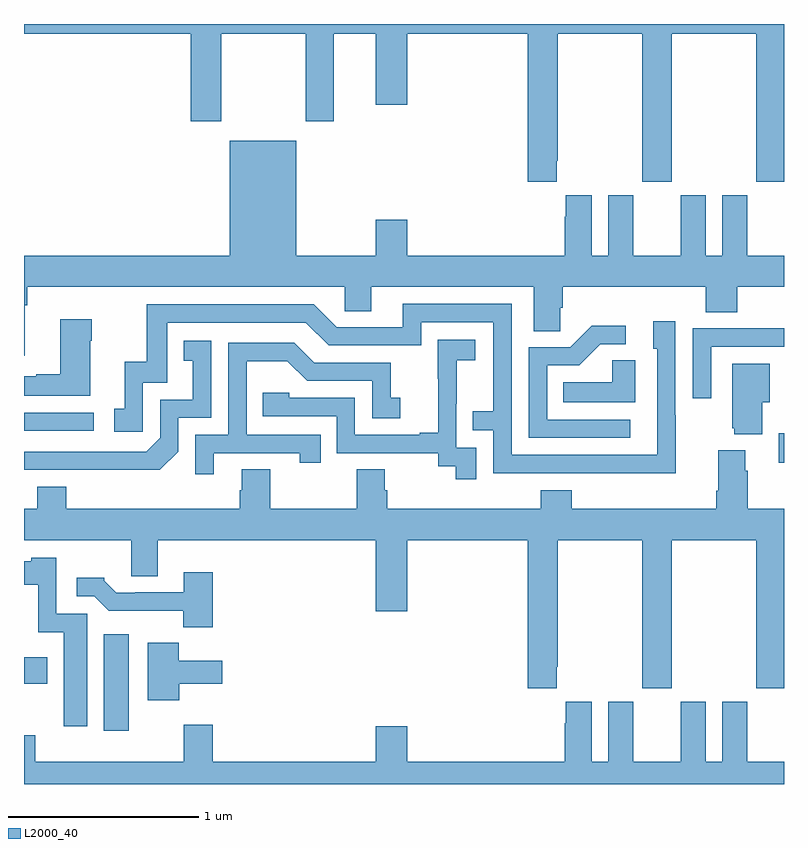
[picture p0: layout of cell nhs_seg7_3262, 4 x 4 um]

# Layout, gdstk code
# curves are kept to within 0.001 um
import gdstk
lib = gdstk.Library(unit=1e-6, precision=1e-09)
def R(c, l, rs):  # rectangles x0, y0, x1, y1
    for r in rs: c.add(gdstk.rectangle(r[:2], r[2:], *l))
def P(c, l, *ps):  # polygons
    for p in ps: c.add(gdstk.Polygon(p, *l))
L2000_40 = (2000, 40)

nhs_seg7_3262 = lib.new_cell('nhs_seg7_3262')
R(nhs_seg7_3262, L2000_40, [(319.421,998.28,319.552,998.788), (319,998.528,319.123,998.668), (322.973,999.69,323,999.846), (319,999.858,319.366,999.954)])
P(nhs_seg7_3262, L2000_40, [(319,1001.948),(319.877,1001.948),(319.877,1001.487),(320.037,1001.487),(320.037,1001.948),(320.482,1001.948),(320.482,1001.487),(320.629,1001.487),(320.629,1001.948),(320.852,1001.948),(320.852,1001.574),(321.016,1001.574),(321.016,1001.948),(321.65,1001.948),(321.65,1001.169),(321.805,1001.169),(321.805,1001.281),(321.81,1001.281),(321.81,1001.948),(322.255,1001.948),(322.255,1001.169),(322.41,1001.169),(322.41,1001.948),(322.855,1001.948),(322.855,1001.169),(323,1001.169),(323,1002),(319,1002)],
  [(319.003,1000.52),(319.016,1000.52),(319.016,1000.616),(320.688,1000.616),(320.688,1000.489),(320.827,1000.489),(320.827,1000.616),(321.683,1000.616),(321.683,1000.384),(321.822,1000.384),(321.822,1000.507),(321.836,1000.507),(321.836,1000.616),(322.589,1000.616),(322.589,1000.483),(322.754,1000.483),(322.754,1000.616),(323,1000.616),(323,1000.78),(322.807,1000.78),(322.807,1001.098),(322.676,1001.098),(322.676,1000.78),(322.588,1000.78),(322.588,1001.098),(322.457,1001.098),(322.457,1000.78),(322.207,1000.78),(322.207,1001.098),(322.076,1001.098),(322.076,1000.78),(321.988,1000.78),(321.988,1001.098),(321.851,1001.098),(321.851,1000.985),(321.845,1000.985),(321.845,1000.78),(321.016,1000.78),(321.016,1000.969),(320.852,1000.969),(320.852,1000.78),(320.434,1000.78),(320.434,1001.386),(320.084,1001.386),(320.084,1000.78),(319,1000.78),(319,1000.254),(319.003,1000.254)],
  [(322.431,999.941),(322.428,999.941),(322.428,1000.435),(322.313,1000.435),(322.313,1000.29),(322.332,1000.29),(322.332,999.732),(321.567,999.732),(321.567,1000.527),(320.993,1000.527),(320.993,1000.404),(320.646,1000.404),(320.526,1000.524),(319.647,1000.524),(319.647,1000.222),(319.529,1000.222),(319.529,999.975),(319.476,999.975),(319.476,999.855),(319.626,999.855),(319.626,1000.113),(319.755,1000.113),(319.755,1000.428),(320.484,1000.428),(320.604,1000.308),(321.09,1000.308),(321.09,1000.431),(321.471,1000.431),(321.471,999.962),(321.361,999.962),(321.361,999.861),(321.471,999.861),(321.471,999.636),(322.431,999.635)],
  [(319.348,1000.334),(319.356,1000.334),(319.356,1000.447),(319.19,1000.447),(319.19,1000.157),(319.064,1000.157),(319.064,1000.147),(319,1000.147),(319,1000.043),(319.348,1000.043)],
  [(322.192,999.918),(321.753,999.918),(321.753,1000.203),(321.922,1000.203),(322.033,1000.314),(322.168,1000.314),(322.168,1000.412),(321.989,1000.412),(321.876,1000.299),(321.657,1000.299),(321.657,999.822),(322.192,999.822)],
  [(322.617,1000.302),(323,1000.302),(323,1000.4),(322.837,1000.4),(322.837,1000.398),(322.521,1000.398),(322.521,1000.029),(322.617,1000.029)],
  [(321.381,999.771),(321.276,999.771),(321.276,1000.001),(321.278,1000.001),(321.278,1000.229),(321.376,1000.229),(321.376,1000.339),(321.178,1000.339),(321.178,1000.133),(321.179,1000.133),(321.179,999.85),(321.083,999.85),(321.083,999.837),(320.742,999.837),(320.742,1000.032),(320.397,1000.032),(320.397,1000.059),(320.257,1000.059),(320.257,999.936),(320.646,999.936),(320.646,999.741),(321.18,999.741),(321.18,999.673),(321.273,999.673),(321.273,999.603),(321.381,999.603)],
  [(319.812,999.75),(319.812,999.927),(319.986,999.927),(319.986,1000.333),(319.84,1000.333),(319.84,1000.227),(319.889,1000.227),(319.889,1000.023),(319.716,1000.023),(319.716,999.822),(319.644,999.75),(319,999.75),(319,999.654),(319.714,999.653)],
  [(319.999,999.741),(320.45,999.741),(320.45,999.69),(320.561,999.69),(320.561,999.837),(320.172,999.837),(320.172,1000.226),(320.386,1000.226),(320.49,1000.122),(320.832,1000.122),(320.832,999.924),(320.98,999.924),(320.98,1000.033),(320.931,1000.033),(320.931,1000.218),(320.527,1000.218),(320.422,1000.323),(320.076,1000.323),(320.076,999.837),(319.902,999.837),(319.902,999.63),(319.999,999.63)],
  [(322.216,1000.229),(322.095,1000.229),(322.095,1000.114),(321.838,1000.114),(321.838,1000.01),(322.216,1000.01)],
  [(322.885,1000.01),(322.924,1000.01),(322.924,1000.213),(322.727,1000.213),(322.727,999.873),(322.739,999.873),(322.739,999.842),(322.885,999.842)],
  [(322.795,999.65),(322.795,999.757),(322.655,999.757),(322.655,999.544),(322.643,999.544),(322.643,999.448),(321.884,999.448),(321.884,999.547),(321.719,999.547),(321.719,999.448),(320.912,999.448),(320.912,999.546),(320.899,999.546),(320.899,999.656),(320.752,999.656),(320.752,999.448),(320.295,999.448),(320.295,999.656),(320.147,999.656),(320.147,999.546),(320.135,999.546),(320.135,999.448),(319.223,999.448),(319.223,999.565),(319.07,999.565),(319.07,999.448),(319,999.448),(319,999.284),(319.565,999.284),(319.565,999.094),(319.705,999.094),(319.705,999.284),(320.852,999.284),(320.852,998.91),(321.016,998.91),(321.016,999.284),(321.65,999.284),(321.65,998.505),(321.805,998.505),(321.805,998.617),(321.81,998.617),(321.81,999.284),(322.255,999.284),(322.255,998.505),(322.41,998.505),(322.41,999.284),(322.855,999.284),(322.855,998.505),(323,998.505),(323,999.448),(322.808,999.448),(322.808,999.65)],
  [(319.333,998.895),(319.17,998.895),(319.17,999.19),(319.038,999.19),(319.038,999.172),(319,999.172),(319,999.05),(319.074,999.05),(319.074,998.798),(319.208,998.798),(319.208,998.304),(319.333,998.304)],
  [(319.994,999.115),(319.841,999.115),(319.841,999.009),(319.585,999.009),(319.585,999.006),(319.486,999.006),(319.422,999.07),(319.422,999.085),(319.278,999.085),(319.278,998.988),(319.371,998.988),(319.447,998.912),(319.839,998.912),(319.839,998.825),(319.994,998.825)],
  [(319.816,998.528),(320.044,998.528),(320.044,998.65),(319.814,998.65),(319.814,998.743),(319.652,998.743),(319.652,998.442),(319.816,998.442)],
  [(323,998.116),(322.807,998.116),(322.807,998.434),(322.676,998.434),(322.676,998.116),(322.588,998.116),(322.588,998.434),(322.457,998.434),(322.457,998.116),(322.207,998.116),(322.207,998.434),(322.076,998.434),(322.076,998.116),(321.988,998.116),(321.988,998.434),(321.851,998.434),(321.851,998.321),(321.845,998.321),(321.845,998.116),(321.016,998.116),(321.016,998.305),(320.852,998.305),(320.852,998.116),(319.994,998.116),(319.994,998.311),(319.841,998.311),(319.841,998.116),(319.058,998.116),(319.058,998.257),(319,998.257),(319,998),(323,998)])

lib.write_gds('nhs_seg7_3262.gds')
